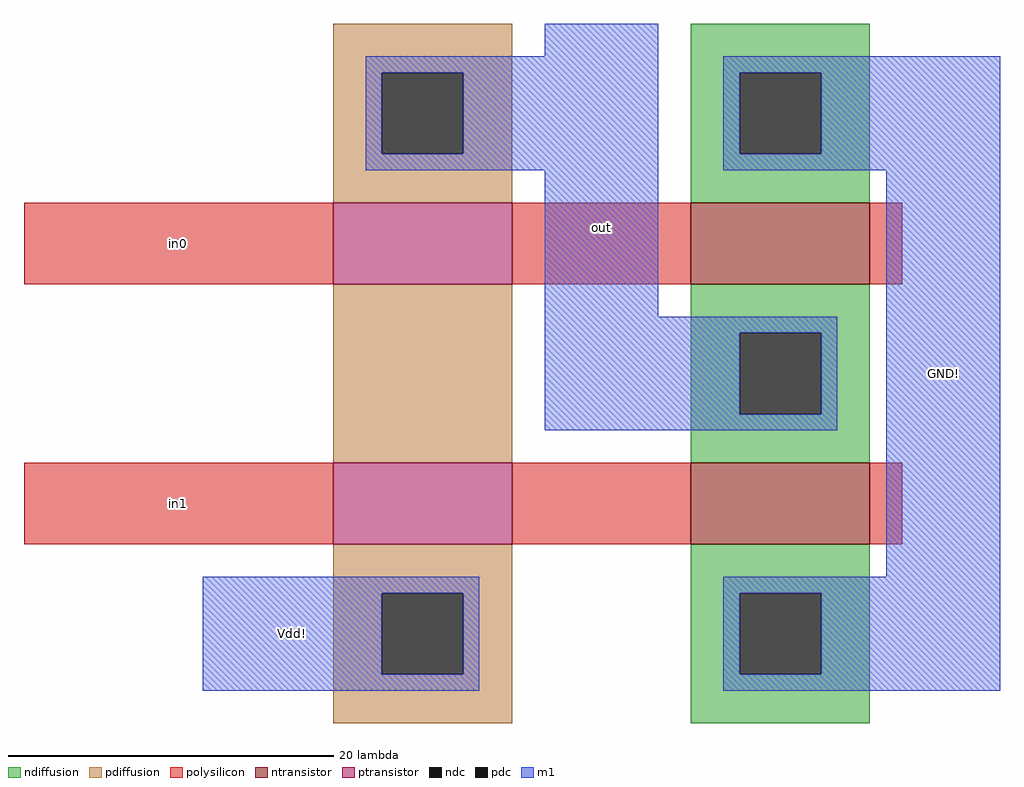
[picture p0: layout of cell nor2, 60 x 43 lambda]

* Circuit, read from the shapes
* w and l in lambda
.subckt nor2 GND! Vdd! in0 in1 out
M1 out in1 GND! VSUBS nfet w=11 l=5
M2 GND! in0 out VSUBS nfet w=11 l=5
M3 n1 in1 Vdd! NWELL pfet w=11 l=5
M4 out in0 n1 NWELL pfet w=11 l=5
.ends

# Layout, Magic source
magic
tech sky130l
<< ndiffusion >>
rect 297 191 308 194
rect 297 186 300 191
rect 305 186 308 191
rect 297 183 308 186
rect 297 175 308 178
rect 297 170 300 175
rect 305 170 308 175
rect 297 167 308 170
rect 297 159 308 162
rect 297 154 300 159
rect 305 154 308 159
rect 297 151 308 154
<< ndc >>
rect 300 186 305 191
rect 300 170 305 175
rect 300 154 305 159
<< ntransistor >>
rect 297 178 308 183
rect 297 162 308 167
<< pdiffusion >>
rect 275 191 286 194
rect 275 186 278 191
rect 283 186 286 191
rect 275 183 286 186
rect 275 167 286 178
rect 275 159 286 162
rect 275 154 278 159
rect 283 154 286 159
rect 275 151 286 154
<< pdc >>
rect 278 186 283 191
rect 278 154 283 159
<< ptransistor >>
rect 275 178 286 183
rect 275 162 286 167
<< polysilicon >>
rect 256 178 275 183
rect 286 178 297 183
rect 308 178 310 183
rect 256 162 275 167
rect 286 162 297 167
rect 308 162 310 167
<< m1 >>
rect 288 192 295 194
rect 277 191 295 192
rect 277 186 278 191
rect 283 186 295 191
rect 277 185 295 186
rect 299 191 316 192
rect 299 186 300 191
rect 305 186 316 191
rect 299 185 316 186
rect 288 176 295 185
rect 288 175 306 176
rect 288 170 300 175
rect 305 170 306 175
rect 288 169 306 170
rect 309 160 316 185
rect 267 159 284 160
rect 267 154 278 159
rect 283 154 284 159
rect 267 153 284 154
rect 299 159 316 160
rect 299 154 300 159
rect 305 154 316 159
rect 299 153 316 154
<< labels >>
rlabel m1 309 153 316 192 3 GND!
rlabel m1 288 169 295 194 1 out
rlabel polysilicon 256 178 275 183 7 in0
rlabel polysilicon 256 162 275 167 7 in1
rlabel m1 267 153 278 160 7 Vdd!
<< end >>
